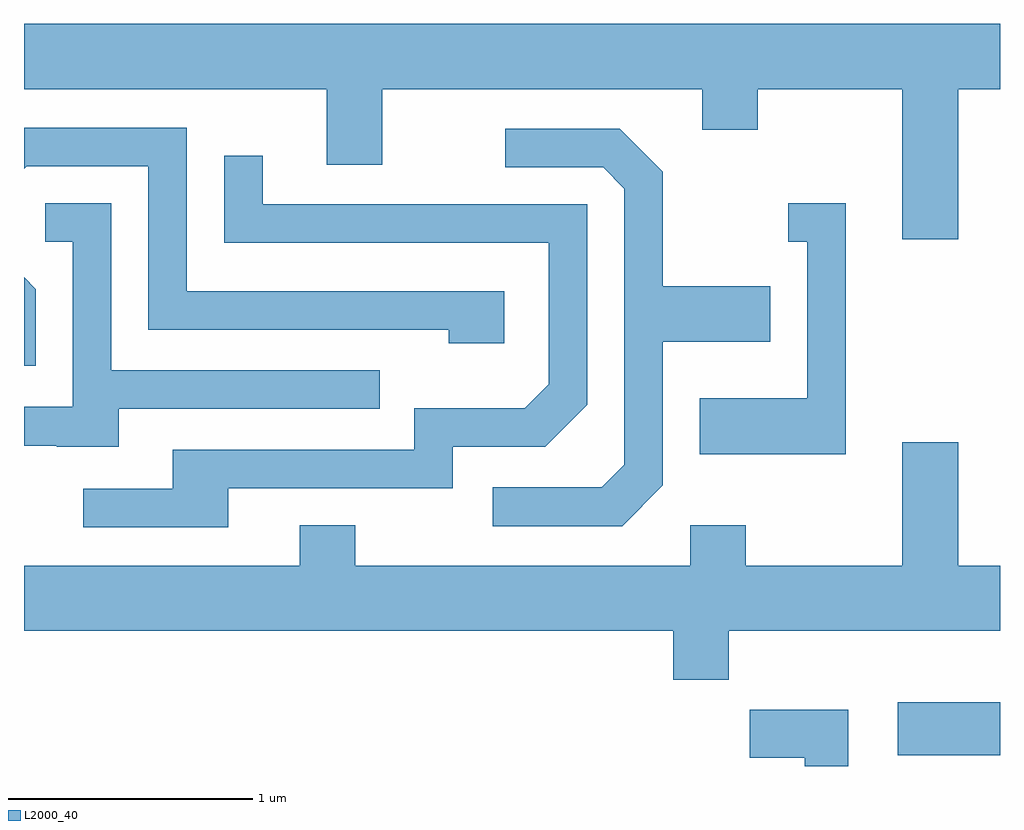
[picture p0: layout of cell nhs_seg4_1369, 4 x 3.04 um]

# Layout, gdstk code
import gdstk
lib = gdstk.Library(unit=1e-6, precision=1e-09)
def R(c, l, rs):  # rectangles x0, y0, x1, y1
    for r in rs: c.add(gdstk.rectangle(r[:2], r[2:], *l))
def P(c, l, *ps):  # polygons
    for p in ps: c.add(gdstk.Polygon(p, *l))
L2000_40 = (2000, 40)

nhs_seg4_1369 = lib.new_cell('nhs_seg4_1369')
R(nhs_seg4_1369, L2000_40, [(229.191,1272.026,229.611,1272.244)])
P(nhs_seg4_1369, L2000_40, [(229.439,1274.756),(229.611,1274.756),(229.611,1275.024),(225.611,1275.024),(225.611,1274.756),(226.851,1274.756),(226.851,1274.446),(227.079,1274.446),(227.079,1274.756),(228.391,1274.756),(228.391,1274.591),(228.619,1274.591),(228.619,1274.756),(229.211,1274.756),(229.211,1274.141),(229.439,1274.141)],
  [(227.579,1273.929),(226.279,1273.929),(226.279,1274.599),(225.611,1274.599),(225.611,1274.43),(225.622,1274.441),(226.121,1274.441),(226.121,1273.771),(227.351,1273.771),(227.351,1273.716),(227.579,1273.716)],
  [(228.229,1273.134),(228.229,1273.721),(228.669,1273.721),(228.669,1273.949),(228.229,1273.949),(228.229,1274.417),(228.052,1274.594),(227.583,1274.594),(227.583,1274.436),(227.984,1274.436),(228.071,1274.349),(228.071,1273.217),(227.979,1273.124),(227.533,1273.124),(227.533,1272.966),(228.062,1272.966)],
  [(226.449,1273.121),(227.369,1273.121),(227.369,1273.291),(227.747,1273.291),(227.919,1273.464),(227.919,1274.284),(226.589,1274.284),(226.589,1274.483),(226.431,1274.483),(226.431,1274.126),(227.761,1274.126),(227.761,1273.547),(227.664,1273.449),(227.211,1273.449),(227.211,1273.279),(226.221,1273.279),(226.221,1273.119),(225.853,1273.119),(225.853,1272.961),(226.449,1272.961)],
  [(228.979,1274.289),(228.743,1274.289),(228.743,1274.131),(228.821,1274.131),(228.821,1273.489),(228.381,1273.489),(228.381,1273.261),(228.979,1273.261)],
  [(225.999,1273.446),(227.068,1273.446),(227.068,1273.604),(225.969,1273.604),(225.969,1274.289),(225.698,1274.289),(225.698,1274.131),(225.811,1274.131),(225.811,1273.454),(225.611,1273.454),(225.611,1273.296),(225.745,1273.296),(225.745,1273.291),(225.999,1273.291)],
  [(225.659,1273.937),(225.611,1273.985),(225.611,1273.623),(225.659,1273.623)],
  [(228.499,1272.536),(229.611,1272.536),(229.611,1272.804),(229.439,1272.804),(229.439,1273.309),(229.211,1273.309),(229.211,1272.804),(228.569,1272.804),(228.569,1272.969),(228.341,1272.969),(228.341,1272.804),(226.969,1272.804),(226.969,1272.969),(226.741,1272.969),(226.741,1272.804),(225.611,1272.804),(225.611,1272.536),(228.271,1272.536),(228.271,1272.336),(228.499,1272.336)],
  [(228.989,1272.214),(228.586,1272.214),(228.586,1272.016),(228.811,1272.016),(228.811,1271.982),(228.989,1271.982)])

lib.write_gds('nhs_seg4_1369.gds')
